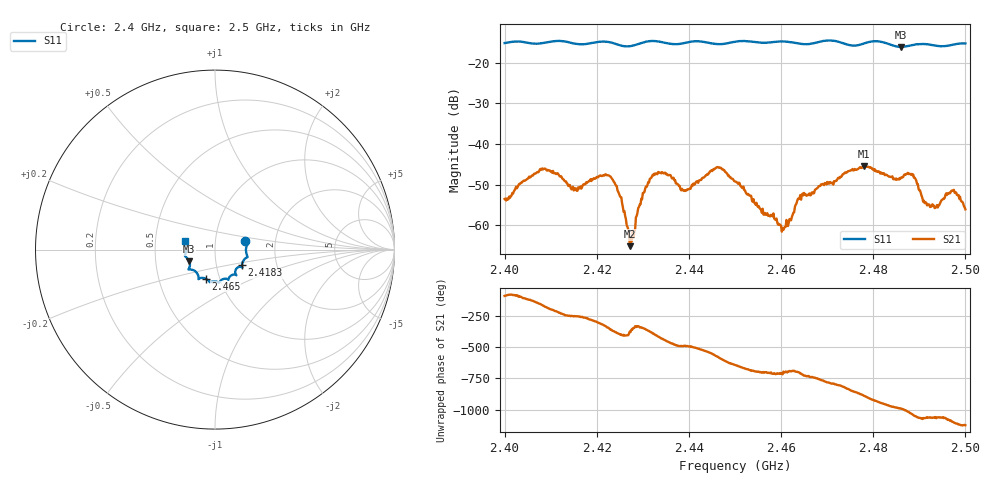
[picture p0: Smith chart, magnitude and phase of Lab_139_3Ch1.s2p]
# Hz S RI R 50
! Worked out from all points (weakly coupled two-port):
!   601 points, 2.4 GHz to 2.5 GHz, reference 50 ohm
!   highest |S21| = -45.45 dB at 2.478 GHz (marker M1); lowest = -65.1 dB at 2.4272 GHz (marker M2)
!   lowest |S11| = -16.1 dB at 2.486 GHz (marker M3), VSWR 1.37, Z = 37.2 - j4.97 ohm
!   |S11| at or under -10 dB: start of sweep to end of sweep
!   S12 and S22 are empty: the file has one direction only
!   S11 on the Smith chart (normalised r, x): 2.4 GHz: 1.40, +0.13; 2.4183 GHz: 1.33, -0.24; 2.465 GHz: 0.86, -0.29; 2.5 GHz: 0.71, +0.07
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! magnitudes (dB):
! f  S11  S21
! 2.4 GHz  -15.1  -53.5
! 2.4082 GHz  -15.1  -46.0
! 2.4167 GHz  -15.4  -51.0
! 2.4183 GHz  -15.2  -49.1
! 2.4233 GHz  -15.0  -48.6
! 2.4272 GHz  -15.9  -65.1
! 2.4277 GHz  -15.8  -63.1
! 2.4305 GHz  -14.8  -51.0
! 2.4333 GHz  -14.7  -46.9
! 2.4388 GHz  -15.2  -51.5
! 2.4462 GHz  -15.4  -45.7
! 2.45 GHz  -14.8  -49.2
! 2.4605 GHz  -14.7  -61.1
! 2.465 GHz  -15.4  -52.0
! 2.4667 GHz  -15.3  -51.9
! 2.478 GHz  -15.2  -45.4
! 2.4833 GHz  -15.3  -47.9
! 2.486 GHz  -16.1  -48.4
! 2.4887 GHz  -15.6  -47.5
! 2.4922 GHz  -15.5  -54.9
! 2.4973 GHz  -15.5  -51.4
! 2.5 GHz  -15.2  -56.1
